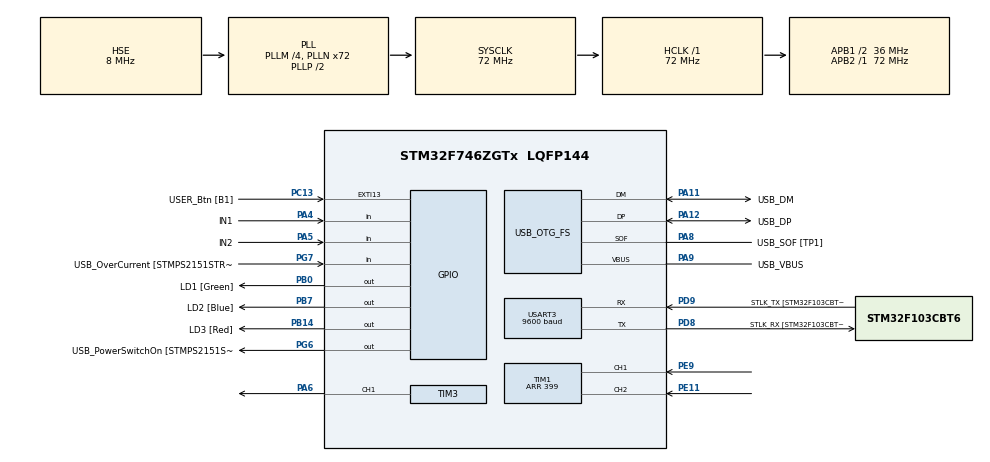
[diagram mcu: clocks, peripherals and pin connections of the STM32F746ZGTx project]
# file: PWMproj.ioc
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Mcu.Family=STM32F7
Mcu.Name=STM32F746ZGTx
Mcu.Package=LQFP144
NVIC.PriorityGroup=NVIC_PRIORITYGROUP_4
NVIC.TIM4_IRQn=true\:0\:0\:false\:false\:true\:true\:true
PA1.GPIO_Label=RMII_REF_CLK [LAN8742A-CZ-TR_REFCLK0]
PA1.Signal=ETH_REF_CLK
PA10.GPIO_Label=USB_ID
PA10.Signal=USB_OTG_FS_ID
PA11.GPIO_Label=USB_DM
PA11.Mode=Device_Only
PA11.Signal=USB_OTG_FS_DM
PA12.GPIO_Label=USB_DP
PA12.Mode=Device_Only
PA12.Signal=USB_OTG_FS_DP
PA13.GPIO_Label=TMS
PA13.Mode=Serial_Wire
PA13.Signal=SYS_JTMS-SWDIO
PA14.GPIO_Label=TCK
PA14.Mode=Serial_Wire
PA14.Signal=SYS_JTCK-SWCLK
PA2.GPIO_Label=RMII_MDIO [LAN8742A-CZ-TR_MDIO]
PA2.Signal=ETH_MDIO
PA4.GPIO_Label=IN1
PA4.Signal=GPIO_Input
PA5.GPIO_Label=IN2
PA5.Signal=GPIO_Input
PA6.Signal=S_TIM3_CH1
PA7.GPIO_Label=RMII_CRS_DV [LAN8742A-CZ-TR_CRS_DV]
PA7.Signal=ETH_CRS_DV
PA8.GPIO_Label=USB_SOF [TP1]
PA8.Mode=Activate_SOF_FS
PA8.Signal=USB_OTG_FS_SOF
PA9.GPIO_Label=USB_VBUS
PA9.Mode=Activate_VBUS
PA9.Signal=USB_OTG_FS_VBUS
PB0.GPIO_Label=LD1 [Green]
PB0.Signal=GPIO_Output
PB13.GPIO_Label=RMII_TXD1 [LAN8742A-CZ-TR_TXD1]
PB13.Signal=ETH_TXD1
PB14.GPIO_Label=LD3 [Red]
PB14.Signal=GPIO_Output
PB3.GPIO_Label=SW0
PB3.Signal=SYS_JTDO-SWO
PB7.GPIO_Label=LD2 [Blue]
PB7.Signal=GPIO_Output
PC1.GPIO_Label=RMII_MDC [LAN8742A-CZ-TR_MDC]
PC1.Signal=ETH_MDC
PC13.GPIO_Label=USER_Btn [B1]
PC13.Signal=GPXTI13
PC14/OSC32_IN.Mode=LSE-External-Oscillator
PC14/OSC32_IN.Signal=RCC_OSC32_IN
PC15/OSC32_OUT.Mode=LSE-External-Oscillator
PC15/OSC32_OUT.Signal=RCC_OSC32_OUT
PC4.GPIO_Label=RMII_RXD0 [LAN8742A-CZ-TR_RXD0]
PC4.Signal=ETH_RXD0
PC5.GPIO_Label=RMII_RXD1 [LAN8742A-CZ-TR_RXD1]
PC5.Signal=ETH_RXD1
PC8.Signal=S_TIM3_CH3
PD8.GPIO_Label=STLK_RX [STM32F103CBT6_PA3]
PD8.Mode=Asynchronous
PD8.Signal=USART3_TX
PD9.GPIO_Label=STLK_TX [STM32F103CBT6_PA2]
PD9.Mode=Asynchronous
PD9.Signal=USART3_RX
PE11.Signal=S_TIM1_CH2
PE9.Signal=S_TIM1_CH1
PG11.GPIO_Label=RMII_TX_EN [LAN8742A-CZ-TR_TXEN]
PG11.Signal=ETH_TX_EN
PG13.GPIO_Label=RMII_TXD0 [LAN8742A-CZ-TR_TXD0]
PG13.Signal=ETH_TXD0
PG6.GPIO_Label=USB_PowerSwitchOn [STMPS2151STR_EN]
PG6.Signal=GPIO_Output
PG7.GPIO_Label=USB_OverCurrent [STMPS2151STR_FAULT]
PG7.Signal=GPIO_Input
PH0/OSC_IN.GPIO_Label=MCO [STM32F103CBT6_PA8]
PH0/OSC_IN.Mode=HSE-External-Clock-Source
PH0/OSC_IN.Signal=RCC_OSC_IN
PH1/OSC_OUT.Mode=HSE-External-Clock-Source
PH1/OSC_OUT.Signal=RCC_OSC_OUT
ProjectManager.HeapSize=0x200
ProjectManager.StackSize=0x400
ProjectManager.TargetToolchain=STM32CubeIDE
RCC.48MHZClocksFreq_Value=24000000
RCC.AHBFreq_Value=72000000
RCC.APB1CLKDivider=RCC_HCLK_DIV2
RCC.APB1Freq_Value=36000000
RCC.APB1TimFreq_Value=72000000
RCC.APB2Freq_Value=72000000
RCC.APB2TimFreq_Value=72000000
RCC.CortexFreq_Value=72000000
RCC.HCLKFreq_Value=72000000
RCC.HSE_VALUE=8000000
RCC.HSI_VALUE=16000000
RCC.PLLM=4
RCC.PLLMUL=RCC_PLL_MUL9
RCC.PLLN=72
RCC.PLLQ=3
RCC.PRESCALERUSB=RCC_USBCLKSOURCE_PLL_DIV1_5
RCC.SYSCLKFreq_VALUE=72000000
RCC.SYSCLKSource=RCC_SYSCLKSOURCE_PLLCLK
RCC.SYSCLKSourceVirtual=RCC_SYSCLKSOURCE_PLLCLK
RCC.USBFreq_Value=48000000
RCC.VCOOutputFreq_Value=144000000
SH.S_TIM1_CH1.0=TIM1_CH1,Encoder_Interface
SH.S_TIM1_CH2.0=TIM1_CH2,Encoder_Interface
SH.S_TIM3_CH1.0=TIM3_CH1,PWM Generation1 CH1
SH.S_TIM3_CH3.0=TIM3_CH3
TIM1.Period=399
TIM3.Channel-PWM\ Generation1\ CH1=TIM_CHANNEL_1
TIM3.Period=9999
TIM3.Prescaler=71
TIM4.Period=9999
TIM4.Prescaler=71
USART3.BaudRate=9600
USART3.VirtualMode-Asynchronous=VM_ASYNC
USB_OTG_FS.VirtualMode=Device_Only
VP_TIM3_VS_ClockSourceINT.Mode=Internal
VP_TIM4_VS_ClockSourceINT.Mode=Internal
board=NUCLEO-F746ZG

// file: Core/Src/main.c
/* USER CODE BEGIN Header */
/**
 ******************************************************************************
 * @file           : main.c
 * @brief          : Main program body
 ******************************************************************************
 * @attention
 *
 * <h2><center>&copy; Copyright (c) 2021 STMicroelectronics.
 * All rights reserved.</center></h2>
 *
 * This software component is licensed by ST under BSD 3-Clause license,
 * the "License"; You may not use this file except in compliance with the
 * License. You may obtain a copy of the License at:
 *                        opensource.org/licenses/BSD-3-Clause
 *
 ******************************************************************************
 */
/* USER CODE END Header */
#include "main.h"
#include "tim.h"
#include "usart.h"
#include "usb_otg.h"
#include "gpio.h"

/* USER CODE BEGIN PV */
 volatile int32_t count;
  volatile int32_t old_count;
  volatile int32_t delta_count;
  volatile float speed;
  volatile float speed_n;
  int time=1; //PRZELICZAĆ
  float number = 15; // dla czasu 10ms
/* USER CODE END PV */

void SystemClock_Config(void);

/* USER CODE BEGIN 0 */

void HAL_TIM_PeriodElapsedCallback(TIM_HandleTypeDef* htim)
{
    if(htim->Instance == htim4.Instance){
    	delta_count = count-old_count;
    	speed = delta_count/time;
    	speed_n = speed*number;
    	old_count = count;

    }
}
/* USER CODE END 0 */

int main(void)
{

  /* MCU Configuration--------------------------------------------------------*/

  /* Reset of all peripherals, Initializes the Flash interface and the Systick. */
  HAL_Init();

  /* Configure the system clock */
  SystemClock_Config();

  /* Initialize all configured peripherals */
  MX_GPIO_Init();
  MX_USART3_UART_Init();
  MX_USB_OTG_FS_PCD_Init();
  MX_TIM3_Init();
  MX_TIM1_Init();
  MX_TIM4_Init();
  /* USER CODE BEGIN 2 */

//zad1
//HAL_TIM_PWM_Start(&htim2, TIM_CHANNEL_3);
//HAL_TIM_PWM_Start(&htim2, TIM_CHANNEL_2);
HAL_TIM_PWM_Start(&htim3, TIM_CHANNEL_1);
__HAL_TIM_SET_COMPARE(&htim3, TIM_CHANNEL_1,1000);
//__HAL_TIM_SET_COMPARE(&htim2, TIM_CHANNEL_2,500);
//__HAL_TIM_SET_COMPARE(&htim2, TIM_CHANNEL_3,500);
//zad2
//	HAL_TIM_PWM_Start(&htim3, TIM_CHANNEL_3);
//	HAL_TIM_PWM_Start(&htim3, TIM_CHANNEL_2);
//	HAL_TIM_PWM_Start(&htim3, TIM_CHANNEL_1);
//	uint16_t duty = 0;
//zad3
//	HAL_TIM_PWM_Start(&htim3, TIM_CHANNEL_1);
//zad4
//	HAL_TIM_PWM_Start(&htim3, TIM_CHANNEL_3);
//	HAL_TIM_PWM_Start(&htim3, TIM_CHANNEL_2);
//	HAL_TIM_PWM_Start(&htim3, TIM_CHANNEL_1);
	// zad5
//	HAL_TIM_Encoder_Start(&htim3, TIM_CHANNEL_ALL);
//	char msg[64];
//	uint32_t count=0;
HAL_TIM_Encoder_Start(&htim1,TIM_CHANNEL_ALL);
char msg[64];
HAL_TIM_Base_Start_IT(&htim4);

  /* USER CODE END 2 */

  /* Infinite loop */
  /* USER CODE BEGIN WHILE */
	while (1) {
		  count=__HAL_TIM_GET_COUNTER(&htim1);
		  HAL_Delay(0);
//			  count=count2/0.001f;
//			  count=count/400.0;
//			  sprintf((char*)msg, "Odczyt %f \n \r",count);
//			  HAL_UART_Transmit(&huart3, (uint8_t*)msg, strlen(msg),1000);
//			  HAL_Delay(1000);
		//zad2cd
//		if (__HAL_TIM_GET_FLAG(&htim2, TIM_FLAG_UPDATE)==SET)

//		{
//			__HAL_TIM_CLEAR_FLAG(&htim2, TIM_FLAG_UPDATE);
//
//			if (duty > 1000) {
//				duty = 0;
//			}
//			__HAL_TIM_SET_COMPARE(&htim3, TIM_CHANNEL_1, duty);
//			__HAL_TIM_SET_COMPARE(&htim3, TIM_CHANNEL_2, duty);
//			__HAL_TIM_SET_COMPARE(&htim3, TIM_CHANNEL_3, duty);
//			duty =duty+ 100;
//		}
		//zad3cd
//		uint8_t mess[4];
//		uint16_t duty = 0;
//		HAL_StatusTypeDef status = HAL_UART_Receive(&huart3, &mess, 4, 100);
//		if (status == HAL_OK) {
//
//			if (mess[1] == '1') {
//				duty = 1000;
//			} else if (mess[1] == '0') {
//				uint8_t l1 = mess[2] - 48;
//				uint8_t l2 = mess[3] - 48;
//				duty = l1 * 100 + l2 * 10;
//
//			}
//			if (mess[0] == 'R') {
//				__HAL_TIM_SET_COMPARE(&htim3, TIM_CHANNEL_1, duty);
//			}
//		}
		//zad4cd
//		uint8_t mess[12];
//				uint16_t dutyR = 0;
//				uint16_t dutyG = 0;
//				uint16_t dutyB = 0;
//				HAL_StatusTypeDef status = HAL_UART_Receive(&huart3, &mess, 12, 100);
//				if (status == HAL_OK) {
//
//					if (mess[1] == '1') {
//						dutyR = 1000;
//					} else if (mess[1] == '0') {
//						uint8_t l1 = mess[2] - 48;
//						uint8_t l2 = mess[3] - 48;
//						dutyR = l1 * 100 + l2 * 10;
//
//					}
//					if (mess[5] == '1') {
//						dutyG = 1000;
//					} else if (mess[5] == '0') {
//						uint8_t l1 = mess[6] - 48;
//						uint8_t l2 = mess[7] - 48;
//						dutyG = l1 * 100 + l2 * 10;
//
//					}
//					if (mess[9] == '1') {
//						dutyR = 1000;
//					} else if (mess[9] == '0') {
//						uint8_t l1 = mess[10] - 48;
//						uint8_t l2 = mess[11] - 48;
//						dutyB = l1 * 100 + l2 * 10;
//
//					}
//
//					if (mess[0] == 'R'&&mess[4] == 'G' &&mess[8] == 'B') {
//						__HAL_TIM_SET_COMPARE(&htim3, TIM_CHANNEL_1, dutyR);
//						__HAL_TIM_SET_COMPARE(&htim3, TIM_CHANNEL_2, dutyG);
//						__HAL_TIM_SET_COMPARE(&htim3, TIM_CHANNEL_3, dutyB);
//					}
//				}
		//zad5cd
//		count = __HAL_TIM_GET_COUNTER(&htim3);
//
//		sprintf((char*) msg, "odczyt= %d\r\n", count);
//		HAL_UART_Transmit(&huart3, (uint8_t*) msg, strlen(msg), 1000);
//		HAL_Delay(1000);

	}
    /* USER CODE END WHILE */

    /* USER CODE BEGIN 3 */
//}
  /* USER CODE END 3 */
}

void SystemClock_Config(void)
{
  RCC_OscInitTypeDef RCC_OscInitStruct = {0};
  RCC_ClkInitTypeDef RCC_ClkInitStruct = {0};
  RCC_PeriphCLKInitTypeDef PeriphClkInitStruct = {0};

  /** Configure LSE Drive Capability
  */
  HAL_PWR_EnableBkUpAccess();
  /** Configure the main internal regulator output voltage
  */
  __HAL_RCC_PWR_CLK_ENABLE();
  __HAL_PWR_VOLTAGESCALING_CONFIG(PWR_REGULATOR_VOLTAGE_SCALE3);
  /** Initializes the RCC Oscillators according to the specified parameters
  * in the RCC_OscInitTypeDef structure.
  */
  RCC_OscInitStruct.OscillatorType = RCC_OSCILLATORTYPE_HSE;
  RCC_OscInitStruct.HSEState = RCC_HSE_BYPASS;
  RCC_OscInitStruct.PLL.PLLState = RCC_PLL_ON;
  RCC_OscInitStruct.PLL.PLLSource = RCC_PLLSOURCE_HSE;
  RCC_OscInitStruct.PLL.PLLM = 4;
  RCC_OscInitStruct.PLL.PLLN = 72;
  RCC_OscInitStruct.PLL.PLLP = RCC_PLLP_DIV2;
  RCC_OscInitStruct.PLL.PLLQ = 3;
  if (HAL_RCC_OscConfig(&RCC_OscInitStruct) != HAL_OK)
  {
    Error_Handler();
  }
  /** Initializes the CPU, AHB and APB buses clocks
  */
  RCC_ClkInitStruct.ClockType = RCC_CLOCKTYPE_HCLK|RCC_CLOCKTYPE_SYSCLK
                              |RCC_CLOCKTYPE_PCLK1|RCC_CLOCKTYPE_PCLK2;
  RCC_ClkInitStruct.SYSCLKSource = RCC_SYSCLKSOURCE_PLLCLK;
  RCC_ClkInitStruct.AHBCLKDivider = RCC_SYSCLK_DIV1;
  RCC_ClkInitStruct.APB1CLKDivider = RCC_HCLK_DIV2;
  RCC_ClkInitStruct.APB2CLKDivider = RCC_HCLK_DIV1;

  if (HAL_RCC_ClockConfig(&RCC_ClkInitStruct, FLASH_LATENCY_2) != HAL_OK)
  {
    Error_Handler();
  }
  PeriphClkInitStruct.PeriphClockSelection = RCC_PERIPHCLK_USART3|RCC_PERIPHCLK_CLK48;
  PeriphClkInitStruct.Usart3ClockSelection = RCC_USART3CLKSOURCE_PCLK1;
  PeriphClkInitStruct.Clk48ClockSelection = RCC_CLK48SOURCE_PLL;
  if (HAL_RCCEx_PeriphCLKConfig(&PeriphClkInitStruct) != HAL_OK)
  {
    Error_Handler();
  }
}

void Error_Handler(void)
{
	__disable_irq();
	while (1) {
	}
}

/************************ (C) COPYRIGHT STMicroelectronics *****END OF FILE****/
